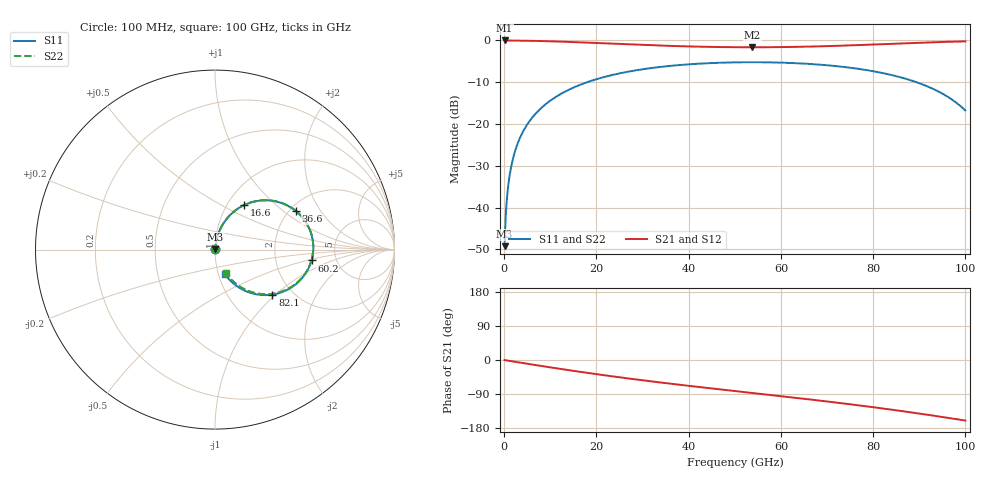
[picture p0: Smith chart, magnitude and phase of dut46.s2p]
! Touchstone file exported from HFSS 2026.1.0
!  File:  C:/ffzhzh/LocalFiles/Ansys_Project_Files/temp_train_RDL_46_1783498222_41296.aedt
!  Generated:  04:11:37 PM Jul  8, 2026
!  Design:  RDL
!  Project:  temp_train_RDL_46_1783498222_41296
! Variables:
!  h_bsmrdl = 2um
!  h_ox = 20um
!  h_rdl = 5um
!  h_sub = 80um
!  h_tmrdl = 3.07um
!  h_tsv = 80um
!  h_via = 3um
!  l_bsmrdl = 300um
!  l_sub = 927.3um
!  l_tmrdl = 527.3um
!  m_sub = 200um
!  pitch = 53.43um
!  r_tsv = 6um
!  s_tmrdl = 10um
!  w_bsmrdl = 18um
!  w_sub = 500um
!  w_tmrdl = 25.32um
!  x_tsv_center1 = 539.96um
!  x_tsv_center2 = 857.96um
!  x_tsv_center3 = 1410.58um
!  x_tsv_center4 = 1728.58um
!  x_tsv_center5 = 2281.2um
!  x_tsv_center6 = 2599.2um
# GHz S MA R 50.000000
! Terminal data exported
! Port[1] = TM_RDL1_1_T1
! Port[2] = TM_RDL1_1_T2
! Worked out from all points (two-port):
!   1000 points, 100 MHz to 100 GHz, reference 50 ohm
!   highest |S21| = -0.02 dB at 100 MHz (marker M1); lowest = -1.7 dB at 53.8 GHz (marker M2)
!   |S21| within 3 dB of the highest: start of sweep to end of sweep
!   lowest |S11| = -49.2 dB at 100 MHz (marker M3), VSWR 1.01, Z = 50.3 + j0.222 ohm
!   |S11| at or under -10 dB: start of sweep to 18.03 GHz; 89.37 GHz to end of sweep
!   |S22| runs from -49.2 to -5.2 dB; largest |S21 - S12| = 1.6e-14
!   S11 on the Smith chart (normalised r, x): 100 MHz: 1.01, +0.00; 16.6 GHz: 1.19, +0.65; 36.6 GHz: 2.15, +1.23; 60.2 GHz: 3.25, -0.56; 82.1 GHz: 1.59, -0.95; 100 GHz: 1.07, -0.29
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0.1  0.003453 39.8  0.9974 -0.2  0.9974 -0.2  0.003453 39.8
! Gamma 0 0 0 0
! Port Impedance 50 0 50 0
0.9  0.0186 77.6  0.9964 -1.8  0.9964 -1.8  0.0186 77.7
1.5  0.03033 80.2  0.996 -3.0  0.996 -3.0  0.03033 80.2
2.5  0.04999 80.6  0.9949 -5.0  0.9949 -5.0  0.04999 80.6
4  0.07926 78.9  0.9925 -7.9  0.9925 -7.9  0.07925 79.0
6.1  0.1193 75.5  0.9877 -12.0  0.9877 -12.0  0.1193 75.5
8.9  0.1706 70.5  0.979 -17.4  0.979 -17.4  0.1706 70.5
12.4  0.2305 64.2  0.9654 -23.9  0.9654 -23.9  0.2305 64.2
16.6  0.2958 56.8  0.9465 -31.5  0.9465 -31.5  0.2958 56.9
16.8  0.2987 56.5  0.9456 -31.8  0.9456 -31.8  0.2987 56.6
24.7  0.3993 43.4  0.907 -45.1  0.907 -45.1  0.3993 43.6
33.4  0.4778 30.2  0.8684 -58.6  0.8684 -58.6  0.4778 30.4
36.6  0.4987 25.6  0.8567 -63.3  0.8567 -63.3  0.4987 25.8
50.1  0.5458 7.1  0.828 -82.0  0.828 -82.0  0.5458 7.4
53.8  0.5479 2.2  0.8265 -87.0  0.8265 -87.0  0.5479 2.5
60.2  0.5412 -6.4  0.8308 -95.7  0.8308 -95.7  0.5412 -6.0
66.7  0.5202 -15.3  0.8435 -104.7  0.8435 -104.7  0.5203 -14.7
82.1  0.4061 -38.1  0.9011 -127.9  0.9011 -127.9  0.4062 -37.2
83.4  0.3918 -40.2  0.907 -130.1  0.907 -130.1  0.3919 -39.2
92.9  0.2642 -56.1  0.9492 -146.5  0.9492 -146.5  0.2643 -54.4
96.5  0.2058 -62.3  0.9623 -153.2  0.9623 -153.2  0.2061 -60.0
100  0.1449 -68.2  0.9722 -159.8  0.9722 -159.8  0.1454 -64.8
